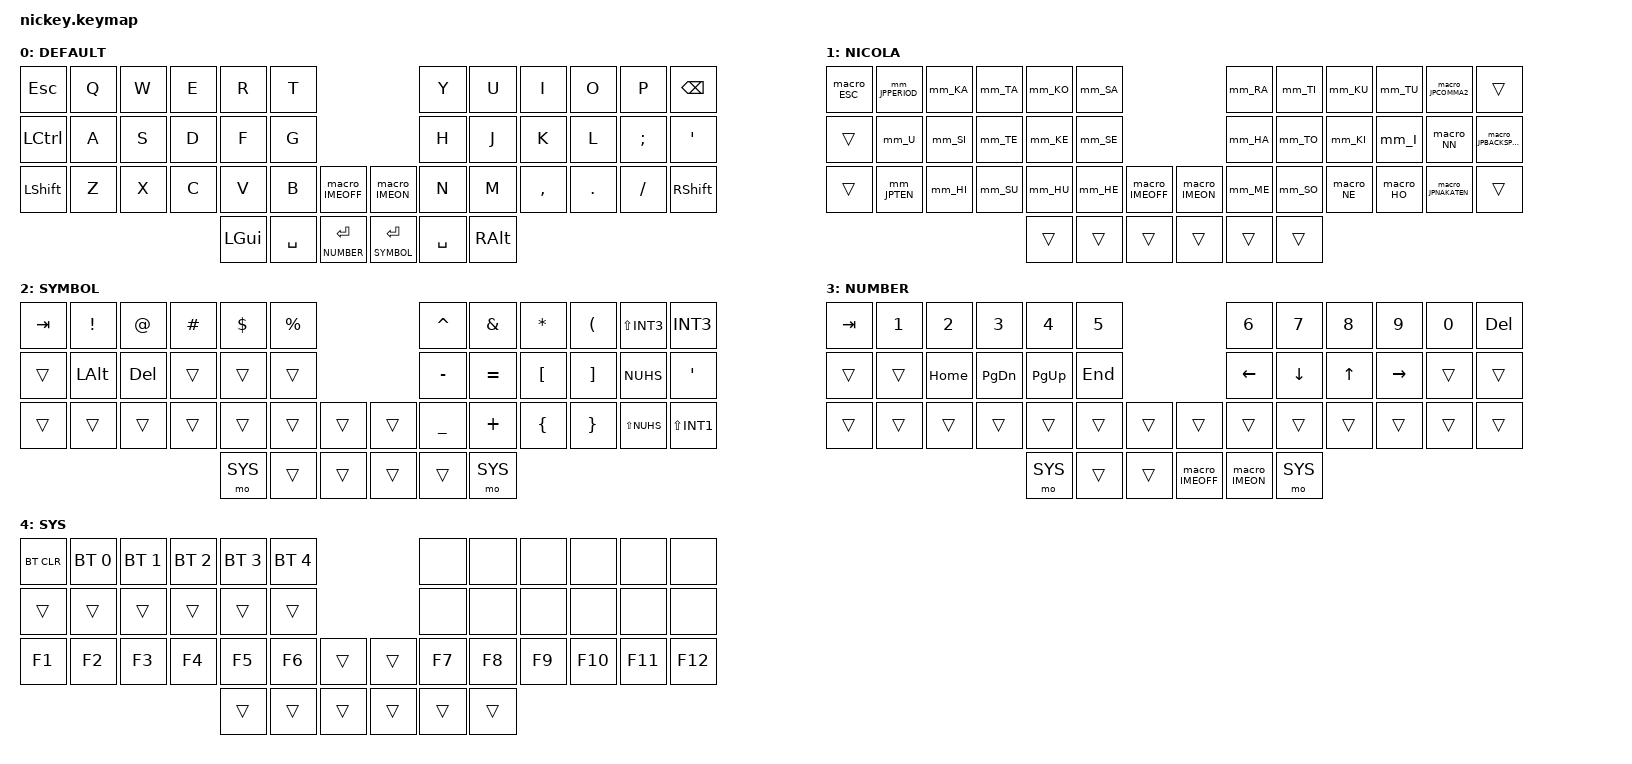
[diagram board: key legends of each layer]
#include <behaviors.dtsi>
#include <dt-bindings/zmk/bt.h>
#include <dt-bindings/zmk/keys.h>

#define DEFAULT 0
#define NICOLA  1
#define SYMBOL  2
#define NUMBER  3
#define SYS     4

&mt {
    flavor = "balanced";
    quick-tap-ms = <0>;
};

&lt {
    quick-tap-ms = <300>;
    flavor = "balanced";
};

/ {
    behaviors {
        #include "macros.dtsi"
        #include "behaviors.keymap"
/*
        lt_to_layer_0: lt_to_layer_0 {
            compatible = "zmk,behavior-hold-tap";
            label = "LAYER_TAP_TO_0";
            bindings = <&mo>, <&to_layer_0>;

            #binding-cells = <2>;
            tapping-term-ms = <200>;
        };
*/
    };

    combos {
        compatible = "zmk,combos";
        #include "combos.keymap"
    };
/*
    macros {
        to_layer_0: to_layer_0 {
            compatible = "zmk,behavior-macro-one-param";
            #binding-cells = <1>;
            bindings = <&to 0 &macro_param_1to1 &kp MACRO_PLACEHOLDER>;
            label = "TO_LAYER_0";
        };
    };
*/
    keymap {
        compatible = "zmk,keymap";

        default_layer {
            bindings = <
&kp ESC    &kp Q  &kp W  &kp E  &kp R    &kp T                                       &kp Y     &kp U     &kp I      &kp O       &kp P          &kp BACKSPACE
&kp LCTRL  &kp A  &kp S  &kp D  &kp F    &kp G                                       &kp H     &kp J     &kp K      &kp L       &kp SEMICOLON  &kp SQT
&kp LSHFT  &kp Z  &kp X  &kp C  &kp V    &kp B     &macro_IMEOFF    &macro_IMEON     &kp N     &kp M     &kp COMMA  &kp PERIOD  &kp FSLH       &kp RSHFT
                                &kp LGUI &kp SPACE &lt NUMBER ENTER &lt SYMBOL ENTER &kp SPACE &kp RALT
            >;
            label = "DEFAULT";
        };

        ncola_layer {
            bindings = <
&macro_ESC  &mm_JPPERIOD &mm_KA  &mm_TA  &mm_KO  &mm_SA                            &mm_RA &mm_TI &mm_KU    &mm_TU    &macro_JPCOMMA2  &trans
&trans      &mm_U        &mm_SI  &mm_TE  &mm_KE  &mm_SE                            &mm_HA &mm_TO &mm_KI    &mm_I     &macro_NN        &macro_JPBACKSPACE
&trans      &mm_JPTEN    &mm_HI  &mm_SU  &mm_HU  &mm_HE &macro_IMEOFF &macro_IMEON &mm_ME &mm_SO &macro_NE &macro_HO &macro_JPNAKATEN &trans
                                         &trans  &trans &trans        &trans   &trans &trans
            >;
            label = "NICOLA";
        };

        symbol_layer {
            bindings = <
&kp TAB   &kp EXCL &kp AT    &kp HASH   &kp DLLR  &kp PRCNT                  &kp CARET &kp AMPS &kp ASTERISK &kp LEFT_PARENTHESIS &kp LS(INT3) &kp INT3
&trans    &kp LALT &kp DEL   &trans     &trans    &trans                     &kp MINUS &kp EQUAL &kp LBKT &kp RBKT &kp NUHS  &kp SQT
&trans    &trans   &trans    &trans     &trans    &trans  &trans    &trans   &kp UNDER &kp PLUS &kp LBRC &kp RBRC &kp LS(NUHS) &kp LS(INT1)
                                        &mo SYS    &trans  &trans    &trans   &trans    &mo SYS
            >;
            label = "SYMBOL";
        };

        number_layer {
            bindings = <
&kp TAB &kp N1  &kp N2   &kp N3    &kp N4    &kp N5          &kp N6  &kp N7  &kp N8  &kp N9  &kp N0   &kp DEL
&trans  &trans  &kp HOME &kp PG_DN &kp PG_UP &kp END         &kp LEFT &kp DOWN &kp UP &kp RIGHT  &trans  &trans
&trans  &trans  &trans   &trans    &trans    &trans  &trans  &trans  &trans  &trans  &trans  &trans     &trans     &trans
                                   &mo SYS  &trans  &trans    &macro_IMEOFF  &macro_IMEON  &mo SYS
            >;
            label = "NUMBER";
        };
        sys_layer {
            bindings = <
&bt BT_CLR   &bt BT_SEL 0  &bt BT_SEL 1  &bt BT_SEL 2  &bt BT_SEL 3  &bt BT_SEL 4          &none         &none           &none           &none   &none           &none
&trans       &trans        &trans        &trans        &trans        &trans                &none         &none           &none           &none   &none           &none
&kp F1       &kp F2        &kp F3        &kp F4        &kp F5        &kp F6  &trans &trans &kp F7        &kp F8          &kp F9          &kp F10 &kp F11         &kp F12
                                                       &trans        &trans  &trans &trans &trans        &trans
            >;

            label = "SYS";
        };
    };
};
